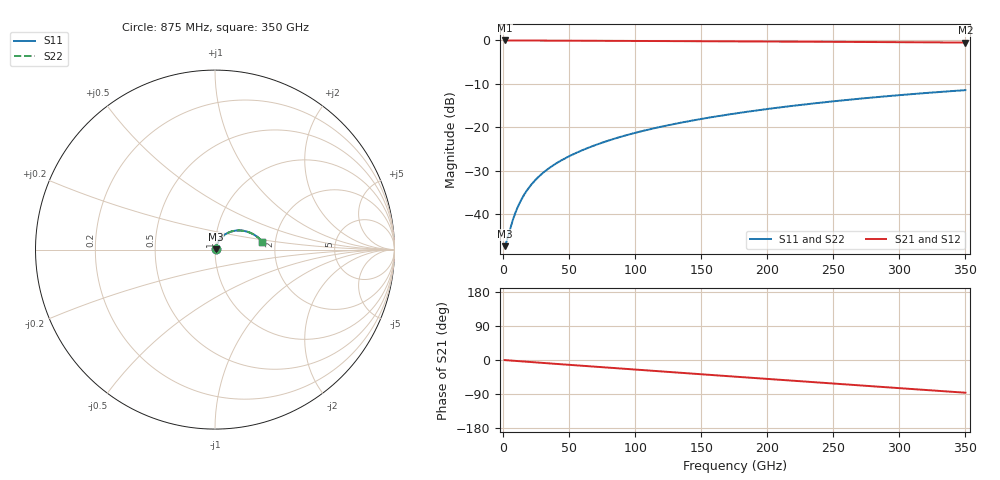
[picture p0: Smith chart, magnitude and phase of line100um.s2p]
#  Hz  S  RI  R  50
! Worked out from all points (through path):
!   400 points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, 875 MHz to 350 GHz, reference 50 ohm
!   highest |S21| = -0.04 dB at 875 MHz (marker M1); lowest = -0.5 dB at 350 GHz (marker M2)
!   group delay of S21, straight-line fit = 683 fs
!   lowest |S11| = -47.3 dB at 875 MHz (marker M3), VSWR 1.01, Z = 50.4 + j0.0905 ohm
!   |S11| at or under -10 dB: start of sweep to end of sweep
!   |S22| runs from -47.3 to -11.5 dB; largest |S21 - S12| = 0
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8.75e8  0.00421 0.000897  0.9959 -0.00402  0.9959 -0.00402  0.00421 0.000897
1.75e9  0.00423 0.00179  0.9959 -0.00804  0.9959 -0.00804  0.00423 0.00179
2.625e9  0.00426 0.00269  0.9958 -0.0121  0.9958 -0.0121  0.00426 0.00269
7e9  0.00464 0.00713  0.9951 -0.0321  0.9951 -0.0321  0.00464 0.00713
1.05e10  0.00516 0.0106  0.9941 -0.0481  0.9941 -0.0481  0.00516 0.0106
1.4875e10  0.00606 0.0148  0.9924 -0.0678  0.9924 -0.0678  0.00606 0.0148
2.1e10  0.00769 0.0204  0.9892 -0.0951  0.9892 -0.0951  0.00769 0.0204
2.8e10  0.00992 0.0264  0.9846 -0.1258  0.9846 -0.1258  0.00992 0.0264
3.675e10  0.013 0.0333  0.9776 -0.1634  0.9776 -0.1634  0.013 0.0333
4.725e10  0.017 0.0411  0.9677 -0.2079  0.9677 -0.2079  0.017 0.0411
5.95e10  0.022 0.0496  0.9537 -0.259  0.9537 -0.259  0.022 0.0496
7.175e10  0.0278 0.0578  0.9371 -0.3092  0.9371 -0.3092  0.0278 0.0578
8.575e10  0.0352 0.0666  0.9147 -0.3651  0.9147 -0.3651  0.0352 0.0666
1.1725e11  0.0549 0.0834  0.8528 -0.484  0.8528 -0.484  0.0549 0.0834
1.4525e11  0.0755 0.0949  0.7851 -0.581  0.7851 -0.581  0.0755 0.0949
1.75875e11  0.1008 0.1033  0.6988 -0.6759  0.6988 -0.6759  0.1008 0.1033
2.0475e11  0.127 0.1067  0.6073 -0.7535  0.6073 -0.7535  0.127 0.1067
2.33625e11  0.1546 0.1053  0.5076 -0.8184  0.5076 -0.8184  0.1546 0.1053
2.63375e11  0.1839 0.0984  0.3983 -0.8713  0.3983 -0.8713  0.1839 0.0984
2.9225e11  0.2122 0.0861  0.2876 -0.9085  0.2876 -0.9085  0.2122 0.0861
3.22e11  0.2399 0.0675  0.1711 -0.9321  0.1711 -0.9321  0.2399 0.0675
3.5e11  0.2637 0.0445  0.0603 -0.9405  0.0603 -0.9405  0.2637 0.0445
